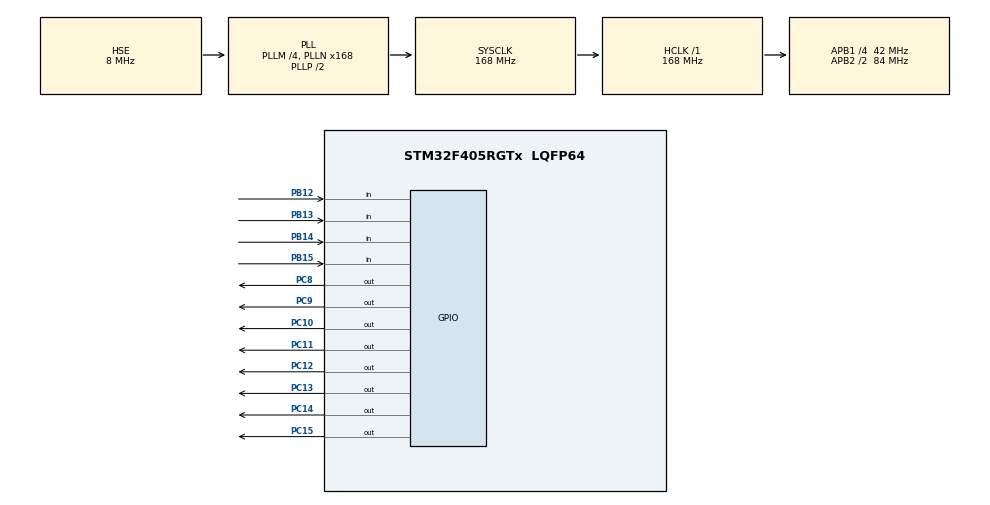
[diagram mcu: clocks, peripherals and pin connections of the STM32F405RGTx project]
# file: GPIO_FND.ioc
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Mcu.Family=STM32F4
RCC.PLLSourceVirtual=RCC_PLLSOURCE_HSE
PH0-OSC_IN.Signal=RCC_OSC_IN
RCC.CortexFreq_Value=168000000
PC10.Signal=GPIO_Output
PC11.Signal=GPIO_Output
PC12.Signal=GPIO_Output
PC8.Signal=GPIO_Output
RCC.APB1CLKDivider=RCC_HCLK_DIV4
PC14-OSC32_IN.Signal=GPIO_Output
PB13.Signal=GPIO_Input
PB15.Signal=GPIO_Input
RCC.SYSCLKSource=RCC_SYSCLKSOURCE_PLLCLK
ProjectManager.StackSize=0x400
PA13.Signal=SYS_JTMS-SWDIO
ProjectManager.TargetToolchain=EWARM V8.32
RCC.HCLKFreq_Value=168000000
RCC.APB2TimFreq_Value=168000000
RCC.LSE_VALUE=32768
PC15-OSC32_OUT.Signal=GPIO_Output
RCC.AHBFreq_Value=168000000
PH0-OSC_IN.Mode=HSE-External-Oscillator
PB14.Signal=GPIO_Input
RCC.HSE_VALUE=8000000
board=custom
PC13-ANTI_TAMP.Signal=GPIO_Output
RCC.VCOOutputFreq_Value=336000000
RCC.APB2Freq_Value=84000000
PA14.Mode=Serial_Wire
PH1-OSC_OUT.Signal=RCC_OSC_OUT
PA13.Mode=Serial_Wire
Mcu.Name=STM32F405RGTx
PH1-OSC_OUT.Mode=HSE-External-Oscillator
RCC.48MHZClocksFreq_Value=84000000
RCC.SYSCLKFreq_VALUE=168000000
Mcu.Package=LQFP64
PA14.Signal=SYS_JTCK-SWCLK
ProjectManager.HeapSize=0x200
RCC.HSI_VALUE=16000000
NVIC.PriorityGroup=NVIC_PRIORITYGROUP_4
RCC.APB2CLKDivider=RCC_HCLK_DIV2
RCC.PLLM=4
RCC.PLLN=168
RCC.APB1TimFreq_Value=84000000
PC9.Signal=GPIO_Output
RCC.APB1Freq_Value=42000000
PB12.Signal=GPIO_Input

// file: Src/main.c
/* USER CODE BEGIN Header */
/**
  ******************************************************************************
  * @file           : main.c
  * @brief          : Main program body
  ******************************************************************************
  * @attention
  *
  * <h2><center>&copy; Copyright (c) 2020 STMicroelectronics.
  * All rights reserved.</center></h2>
  *
  * This software component is licensed by ST under BSD 3-Clause license,
  * the "License"; You may not use this file except in compliance with the
  * License. You may obtain a copy of the License at:
  *                        opensource.org/licenses/BSD-3-Clause
  *
  ******************************************************************************
  */
/* USER CODE END Header */

#include "main.h"
#include "gpio.h"

void SystemClock_Config(void);

int main(void)
{
  /* USER CODE BEGIN 1 */
  unsigned int FND_DATA_TBL[] = {0x3F00, 0x0600, 0x5B00, 0x4F00, 0x6600, 0x6D00,
                                 0x7C00, 0x0700, 0x7F00, 0x6700, 0x7700, 0x7C00,
                                 0x3900, 0x5E00, 0x7900, 0x7100, 0x0800, 0x8000};
  unsigned char cnt = 0;
  unsigned ON = 1;
  /* USER CODE END 1 */

  /* MCU Configuration--------------------------------------------------------*/

  /* Reset of all peripherals, Initializes the Flash interface and the Systick. */
  HAL_Init();

  /* Configure the system clock */
  SystemClock_Config();

  /* Initialize all configured peripherals */
  MX_GPIO_Init();

  /* Infinite loop */
  /* USER CODE BEGIN WHILE */
  HAL_GPIO_WritePin(GPIOC, FND_DATA_TBL[cnt], GPIO_PIN_SET);
  while (1)
  {
    // 차례대로 FND 출력하기
//    if(cnt>17) cnt=0;
//    else cnt++;
//    HAL_GPIO_WritePin(GPIOC, FND_DATA_TBL[cnt], GPIO_PIN_SET);
//    HAL_Delay(500);
//    HAL_GPIO_WritePin(GPIOC, GPIO_PIN_All, GPIO_PIN_RESET);

    // FND + 버튼 사용하기
    if(HAL_GPIO_ReadPin(GPIOB, GPIO_PIN_12)) // 버튼 누를때마다 값 증가시키기
    {
      HAL_GPIO_WritePin(GPIOC, GPIO_PIN_All, GPIO_PIN_RESET);
      if(cnt==17) cnt=0;
      else cnt++;
      HAL_GPIO_WritePin(GPIOC, FND_DATA_TBL[cnt], GPIO_PIN_SET);
      HAL_Delay(500);
    }
    else if(HAL_GPIO_ReadPin(GPIOB, GPIO_PIN_13)) // 버튼 누를때마다 값 감소시키기
    {
      HAL_GPIO_WritePin(GPIOC, GPIO_PIN_All, GPIO_PIN_RESET);
      if(cnt==0) cnt=17; // cnt < 0
      else cnt--;
      HAL_GPIO_WritePin(GPIOC, FND_DATA_TBL[cnt], GPIO_PIN_SET);
      HAL_Delay(500);
    }
    else if(HAL_GPIO_ReadPin(GPIOB, GPIO_PIN_14)) // 버튼 누르면 0으로 초기화
    {
      HAL_GPIO_WritePin(GPIOC, GPIO_PIN_All, GPIO_PIN_RESET);
      cnt=0;
      HAL_GPIO_WritePin(GPIOC, FND_DATA_TBL[cnt], GPIO_PIN_SET);
      HAL_Delay(500);
    }
    else if(HAL_GPIO_ReadPin(GPIOB, GPIO_PIN_15)) // 버튼 누르면 FND 키고 끄기
    {
      if(ON)
      {
        ON = 0;
        HAL_GPIO_WritePin(GPIOC, GPIO_PIN_All, GPIO_PIN_RESET);
      }
      else
      {
        ON = 1;
        HAL_GPIO_WritePin(GPIOC, FND_DATA_TBL[cnt], GPIO_PIN_SET);
      }
      HAL_Delay(500);
    }
    /* USER CODE END WHILE */

  }
}

void SystemClock_Config(void)
{
  RCC_OscInitTypeDef RCC_OscInitStruct = {0};
  RCC_ClkInitTypeDef RCC_ClkInitStruct = {0};

  /** Configure the main internal regulator output voltage
  */
  __HAL_RCC_PWR_CLK_ENABLE();
  __HAL_PWR_VOLTAGESCALING_CONFIG(PWR_REGULATOR_VOLTAGE_SCALE1);
  /** Initializes the CPU, AHB and APB busses clocks
  */
  RCC_OscInitStruct.OscillatorType = RCC_OSCILLATORTYPE_HSE;
  RCC_OscInitStruct.HSEState = RCC_HSE_ON;
  RCC_OscInitStruct.PLL.PLLState = RCC_PLL_ON;
  RCC_OscInitStruct.PLL.PLLSource = RCC_PLLSOURCE_HSE;
  RCC_OscInitStruct.PLL.PLLM = 4;
  RCC_OscInitStruct.PLL.PLLN = 168;
  RCC_OscInitStruct.PLL.PLLP = RCC_PLLP_DIV2;
  RCC_OscInitStruct.PLL.PLLQ = 4;
  if (HAL_RCC_OscConfig(&RCC_OscInitStruct) != HAL_OK)
  {
    Error_Handler();
  }
  /** Initializes the CPU, AHB and APB busses clocks
  */
  RCC_ClkInitStruct.ClockType = RCC_CLOCKTYPE_HCLK|RCC_CLOCKTYPE_SYSCLK
                              |RCC_CLOCKTYPE_PCLK1|RCC_CLOCKTYPE_PCLK2;
  RCC_ClkInitStruct.SYSCLKSource = RCC_SYSCLKSOURCE_PLLCLK;
  RCC_ClkInitStruct.AHBCLKDivider = RCC_SYSCLK_DIV1;
  RCC_ClkInitStruct.APB1CLKDivider = RCC_HCLK_DIV4;
  RCC_ClkInitStruct.APB2CLKDivider = RCC_HCLK_DIV2;

  if (HAL_RCC_ClockConfig(&RCC_ClkInitStruct, FLASH_LATENCY_5) != HAL_OK)
  {
    Error_Handler();
  }
}

void Error_Handler(void)
{
}

/************************ (C) COPYRIGHT STMicroelectronics *****END OF FILE****/
